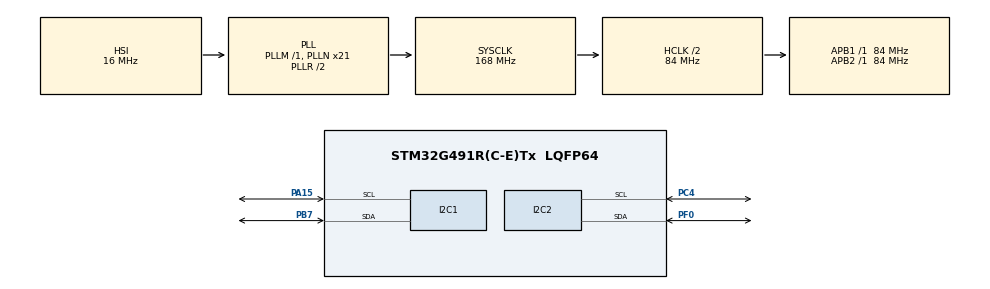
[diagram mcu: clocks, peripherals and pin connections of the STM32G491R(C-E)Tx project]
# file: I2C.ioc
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I2C1.Timing=0x20916F9D
I2C2.OwnAddress=0x10
I2C2.Timing=0x20916F9D
Mcu.Family=STM32G4
Mcu.Name=STM32G491R(C-E)Tx
Mcu.Package=LQFP64
NVIC.I2C2_EV_IRQn=true\:1\:0\:true\:false\:true\:true\:true\:true
NVIC.PriorityGroup=NVIC_PRIORITYGROUP_4
PA15.GPIO_Pu=GPIO_PULLUP
PA15.Mode=I2C
PA15.Signal=I2C1_SCL
PB7.GPIO_Pu=GPIO_PULLUP
PB7.Mode=I2C
PB7.Signal=I2C1_SDA
PC4.Mode=I2C
PC4.Signal=I2C2_SCL
PF0-OSC_IN.Mode=I2C
PF0-OSC_IN.Signal=I2C2_SDA
ProjectManager.HeapSize=0x200
ProjectManager.StackSize=0x400
ProjectManager.TargetToolchain=STM32CubeIDE
RCC.ADC12Freq_Value=168000000
RCC.ADC345Freq_Value=168000000
RCC.AHBCLKDivider=RCC_SYSCLK_DIV2
RCC.AHBFreq_Value=84000000
RCC.APB1Freq_Value=84000000
RCC.APB1TimFreq_Value=84000000
RCC.APB2Freq_Value=84000000
RCC.APB2TimFreq_Value=84000000
RCC.CortexFreq_Value=84000000
RCC.EXTERNAL_CLOCK_VALUE=12288000
RCC.HCLKFreq_Value=84000000
RCC.HSE_VALUE=8000000
RCC.HSI48_VALUE=48000000
RCC.HSI_VALUE=16000000
RCC.LSE_VALUE=32768
RCC.PLLN=21
RCC.SYSCLKFreq_VALUE=168000000
RCC.SYSCLKSource=RCC_SYSCLKSOURCE_PLLCLK
RCC.VCOOutputFreq_Value=336000000
VP_SYS_VS_DBSignals.Mode=DisableDeadBatterySignals
board=custom

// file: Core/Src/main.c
/* USER CODE BEGIN Header */
/**
  ******************************************************************************
  * @file           : main.c
  * @brief          : Main program body
  ******************************************************************************
  * @attention
  *
  * Copyright (c) 2024 STMicroelectronics.
  * All rights reserved.
  *
  * This software is licensed under terms that can be found in the LICENSE file
  * in the root directory of this software component.
  * If no LICENSE file comes with this software, it is provided AS-IS.
  *
  ******************************************************************************
  */
/* USER CODE END Header */
#include "main.h"

/* USER CODE BEGIN Includes */
#include <string.h>
/* USER CODE END Includes */

/* USER CODE BEGIN PD */
#define I2CBUF 10
/* USER CODE END PD */

I2C_HandleTypeDef hi2c1;
I2C_HandleTypeDef hi2c2;

/* USER CODE BEGIN PV */
const uint8_t TxBuf[] ={0,1,2,3,4,5,6,7,8,9};
uint8_t RxBuf[I2CBUF];
__IO uint8_t RxDone;
/* USER CODE END PV */

void SystemClock_Config(void);
static void MX_GPIO_Init(void);
static void MX_I2C1_Init(void);
static void MX_I2C2_Init(void);

int main(void)
{

  /* MCU Configuration--------------------------------------------------------*/

  /* Reset of all peripherals, Initializes the Flash interface and the Systick. */
  HAL_Init();

  /* Configure the system clock */
  SystemClock_Config();

  /* Initialize all configured peripherals */
  MX_GPIO_Init();
  MX_I2C1_Init();
  MX_I2C2_Init();

  /* Infinite loop */
  while (1)
  {

    /* USER CODE BEGIN 3 */
	  memset(RxBuf, 0, I2CBUF);
	  RxDone = 0;
	  HAL_I2C_Slave_Receive_IT(&hi2c2, RxBuf, I2CBUF);
	  HAL_I2C_Master_Transmit(&hi2c1, 0x10<<1, (uint8_t*)TxBuf, I2CBUF, 1000);
	  while(RxDone == 0)
		  ;
	  __NOP();
  }
  /* USER CODE END 3 */
}

void SystemClock_Config(void)
{
  RCC_OscInitTypeDef RCC_OscInitStruct = {0};
  RCC_ClkInitTypeDef RCC_ClkInitStruct = {0};

  /** Configure the main internal regulator output voltage
  */
  HAL_PWREx_ControlVoltageScaling(PWR_REGULATOR_VOLTAGE_SCALE1);

  /** Initializes the RCC Oscillators according to the specified parameters
  * in the RCC_OscInitTypeDef structure.
  */
  RCC_OscInitStruct.OscillatorType = RCC_OSCILLATORTYPE_HSI;
  RCC_OscInitStruct.HSIState = RCC_HSI_ON;
  RCC_OscInitStruct.HSICalibrationValue = RCC_HSICALIBRATION_DEFAULT;
  RCC_OscInitStruct.PLL.PLLState = RCC_PLL_ON;
  RCC_OscInitStruct.PLL.PLLSource = RCC_PLLSOURCE_HSI;
  RCC_OscInitStruct.PLL.PLLM = RCC_PLLM_DIV1;
  RCC_OscInitStruct.PLL.PLLN = 21;
  RCC_OscInitStruct.PLL.PLLP = RCC_PLLP_DIV2;
  RCC_OscInitStruct.PLL.PLLQ = RCC_PLLQ_DIV2;
  RCC_OscInitStruct.PLL.PLLR = RCC_PLLR_DIV2;
  if (HAL_RCC_OscConfig(&RCC_OscInitStruct) != HAL_OK)
  {
    Error_Handler();
  }

  /** Initializes the CPU, AHB and APB buses clocks
  */
  RCC_ClkInitStruct.ClockType = RCC_CLOCKTYPE_HCLK|RCC_CLOCKTYPE_SYSCLK
                              |RCC_CLOCKTYPE_PCLK1|RCC_CLOCKTYPE_PCLK2;
  RCC_ClkInitStruct.SYSCLKSource = RCC_SYSCLKSOURCE_PLLCLK;
  RCC_ClkInitStruct.AHBCLKDivider = RCC_SYSCLK_DIV2;
  RCC_ClkInitStruct.APB1CLKDivider = RCC_HCLK_DIV1;
  RCC_ClkInitStruct.APB2CLKDivider = RCC_HCLK_DIV1;

  if (HAL_RCC_ClockConfig(&RCC_ClkInitStruct, FLASH_LATENCY_2) != HAL_OK)
  {
    Error_Handler();
  }
}

static void MX_I2C1_Init(void)
{

  hi2c1.Instance = I2C1;
  hi2c1.Init.Timing = 0x20916F9D;
  hi2c1.Init.OwnAddress1 = 0;
  hi2c1.Init.AddressingMode = I2C_ADDRESSINGMODE_7BIT;
  hi2c1.Init.DualAddressMode = I2C_DUALADDRESS_DISABLE;
  hi2c1.Init.OwnAddress2 = 0;
  hi2c1.Init.OwnAddress2Masks = I2C_OA2_NOMASK;
  hi2c1.Init.GeneralCallMode = I2C_GENERALCALL_DISABLE;
  hi2c1.Init.NoStretchMode = I2C_NOSTRETCH_DISABLE;
  if (HAL_I2C_Init(&hi2c1) != HAL_OK)
  {
    Error_Handler();
  }

  /** Configure Analogue filter
  */
  if (HAL_I2CEx_ConfigAnalogFilter(&hi2c1, I2C_ANALOGFILTER_ENABLE) != HAL_OK)
  {
    Error_Handler();
  }

  /** Configure Digital filter
  */
  if (HAL_I2CEx_ConfigDigitalFilter(&hi2c1, 0) != HAL_OK)
  {
    Error_Handler();
  }

}

static void MX_I2C2_Init(void)
{

  hi2c2.Instance = I2C2;
  hi2c2.Init.Timing = 0x20916F9D;
  hi2c2.Init.OwnAddress1 = 32;
  hi2c2.Init.AddressingMode = I2C_ADDRESSINGMODE_7BIT;
  hi2c2.Init.DualAddressMode = I2C_DUALADDRESS_DISABLE;
  hi2c2.Init.OwnAddress2 = 0;
  hi2c2.Init.OwnAddress2Masks = I2C_OA2_NOMASK;
  hi2c2.Init.GeneralCallMode = I2C_GENERALCALL_DISABLE;
  hi2c2.Init.NoStretchMode = I2C_NOSTRETCH_DISABLE;
  if (HAL_I2C_Init(&hi2c2) != HAL_OK)
  {
    Error_Handler();
  }

  /** Configure Analogue filter
  */
  if (HAL_I2CEx_ConfigAnalogFilter(&hi2c2, I2C_ANALOGFILTER_ENABLE) != HAL_OK)
  {
    Error_Handler();
  }

  /** Configure Digital filter
  */
  if (HAL_I2CEx_ConfigDigitalFilter(&hi2c2, 0) != HAL_OK)
  {
    Error_Handler();
  }

}

static void MX_GPIO_Init(void)
{

  /* GPIO Ports Clock Enable */
  __HAL_RCC_GPIOF_CLK_ENABLE();
  __HAL_RCC_GPIOC_CLK_ENABLE();
  __HAL_RCC_GPIOA_CLK_ENABLE();
  __HAL_RCC_GPIOB_CLK_ENABLE();

}

/* USER CODE BEGIN 4 */
void HAL_I2C_SlaveRxCpltCallback(I2C_HandleTypeDef *hi2c)
{
	if(hi2c == &hi2c2){
		RxDone = 1;
	}
}
/* USER CODE END 4 */

void Error_Handler(void)
{
  __disable_irq();
  while (1)
  {
  }
}
